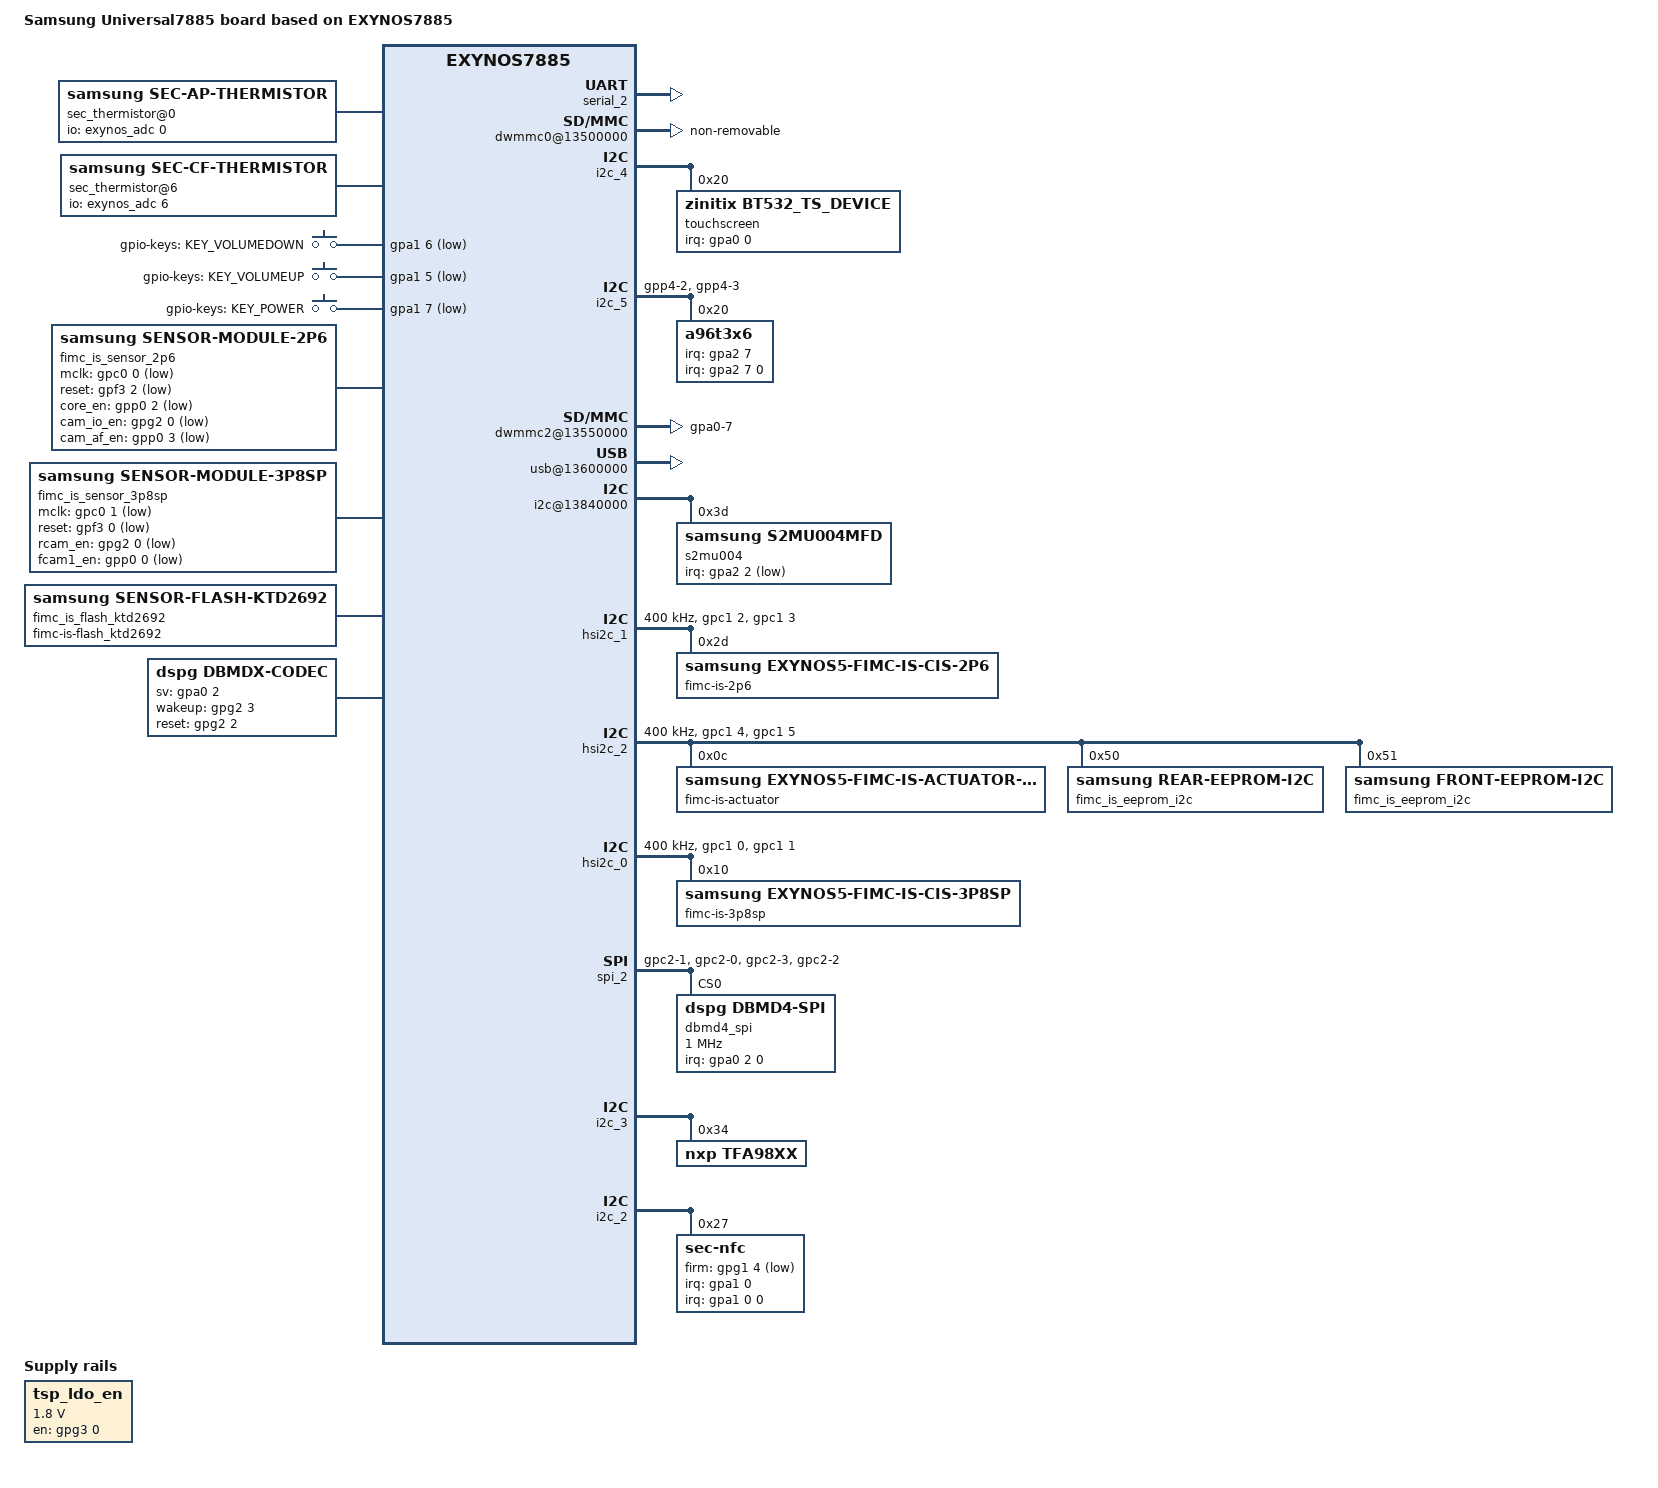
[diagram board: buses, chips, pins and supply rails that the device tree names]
/*
 * SAMSUNG UNIVERSAL7885 board device tree source
 *
 * Copyright (c) 2013 Samsung Electronics Co., Ltd.
 *		http://www.samsung.com
 *
 * This program is free software; you can redistribute it and/or modify
 * it under the terms of the GNU General Public License version 2 as
 * published by the Free Software Foundation.
*/

#include "exynos7885-rmem.dtsi"
#include "exynos7885.dtsi"
#include "display-lcd_jackpot_jpn_common.dtsi"
#include "modem-s327ap-sipc-pdata.dtsi"
#include "battery_data_jackpotlte_common.dtsi"
#include "exynos7885-jackpotlte_motor.dtsi"
#include "battery_data_jackpotlte_jpn_dcm.dtsi"
#include "exynos7885-mali.dtsi"

/ {
	model = "Samsung Universal7885 board based on EXYNOS7885";
	compatible = "samsung,exynos7885", "samsung,Universal7885";

	ect {
		parameter_address = <0x90000000>;
		parameter_size = <0x19000>;
	};

	memory@80000000 {
		device_type = "memory";
		reg = <0x0 0x80000000 0x3DA00000>;
	};

	memory@C0000000 {
		device_type = "memory";
		reg = <0x0 0xC0000000 0x40000000>;
	};

	memory@880000000 {
		device_type = "memory";
		reg = <0x00000008 0x80000000 0x40000000>;
	};

	chosen {
		bootargs = "console=ram root=/dev/ram0 clk_ignore_unused androidboot.hardware=samsungexynos7885 androidboot.selinux=permissive ess_setup=0x86000000 androidboot.debug_level=0x4948";
		linux,initrd-start = <0x84000000>;
		linux,initrd-end = <0x840FFFFF>;
	};

	fixed-rate-clocks {
		oscclk {
			compatible = "samsung,exynos7885-oscclk";
			clock-frequency = <26000000>;
		};
	};

	firmware {
		android {
			compatible = "android,firmware";
			fstab {
				compatible = "android,fstab";
				system {
					compatible = "android,system";
					dev = "/dev/block/platform/13500000.dwmmc0/by-name/SYSTEM";
					type = "ext4";
					mnt_flags = "ro";
					fsmgr_flags = "wait,verify";
				};
				vendor {
					compatible = "android,vendor";
					dev = "/dev/block/platform/13500000.dwmmc0/by-name/VENDOR";
					type = "ext4";
					mnt_flags = "ro";
					fsmgr_flags = "wait,verify";
				};
				odm {
					compatible = "android,odm";
					dev = "/dev/block/platform/13500000.dwmmc0/by-name/ODM";
					type = "ext4";
					mnt_flags = "ro";
					fsmgr_flags = "wait,verify";
				};
			};
		};
	};

	/* USI MODE SETTINGS

	usi_mode = "hsi2c0" or "hsi2c1" or "spi" or "uart"
	or "hsi2c0_hsi2c1" or "uart_hsi2c1"
	*/
	usi_0: usi@10032000 {
		usi_mode = "spi";
		status = "okay";
	};

	usi_1: usi@10032004 {
		usi_mode = "spi";
		status = "okay";
	};

	usi_2: usi@10032008 {
		usi_mode = "spi";
		status = "okay";
	};

	serial_1: uart@13810000 {
		status = "disabled";
	};

	fm@14840000 {
		num-volume-level = <16>;
		val-vol-level = <0 11 16 23 32 45 64
				 90 128 181 256 362
				 512 724 1024 1400>;
	};

	pinctrl@11CB0000 {
		pmic_irq: pmic-irq {
			samsung,pins = "gpa2-0";
			samsung,pin-pud = <3>;
			samsung,pin-drv = <3>;
		};
	};

	pinctrl@139B0000 {
		/* Warm reset information from AP */
		pm_wrsti: pm-wrsti {
			samsung,pins = "gpg1-1";
			samsung,pin-con-pdn = <3>;
		};
	};

	pinctrl@139B0000 {
		/* SPI_FP */
		spi1_bus_inactive: spi1-bus-inactive {
			samsung,pins = "gpp6-0", "gpp6-1", "gpp6-3";
			samsung,pin-function = <1>;
			samsung,pin-pud = <0>;
			samsung,pin-drv = <2>;
		};
		spi1_miso_inactive: spi1-miso-inactive {
			samsung,pins = "gpp6-2";
			samsung,pin-function = <0>;
			samsung,pin-pud = <1>;
			samsung,pin-drv = <2>;
		};
		spi1_clk: spi1-clk {
			samsung,pins = "gpp6-0";
			samsung,pin-function = <2>;
			samsung,pin-pud = <1>;
			samsung,pin-drv = <2>;
		};
		spi1_cs: spi1-cs {
			samsung,pins = "gpp6-1";
			samsung,pin-function = <2>;
			samsung,pin-pud = <3>;
			samsung,pin-drv = <2>;
		};
		spi1_miso: spi1-miso {
			samsung,pins = "gpp6-2";
			samsung,pin-function = <2>;
			samsung,pin-pud = <0>;
			samsung,pin-drv = <2>;
		};
		spi1_mosi: spi1-mosi {
			samsung,pins = "gpp6-3";
			samsung,pin-function = <2>;
			samsung,pin-pud = <1>;
			samsung,pin-drv = <2>;
		};
	};

	but_zones: but_zones {
		#list-but-cells = <3>;
	};

	speedy@11CE0000 {
		status = "okay";
		audio_codec_cod3035x: cod3035x@03 {
			compatible = "codec,cod3035x";
			reg = <0x03>;
			i2c-speedy-address;
			vdd-supply = <&l36_reg>;
			pinctrl-names = "default";
			ant-det-gpio = <&gpa1 4 0xf>;
			legacy-dtv-support;
			mic-bias1-voltage = <3>;
			mic-bias2-voltage = <1>;
			mic-bias-ldo-voltage = <3>;
			use-lassenA;
			use-feature-flag = <0x01>;
			use-btn-adc-mode;
			use-det-gdet-adc-mode = <1>;
			jack-imp-tuning = <7>;
			io-channels = <&exynos_adc 3>,<&exynos_adc 7>;
			io-channel-names = "adc-ear","adc-gdet";
			#io-channel-cells = <1>;
			io-channel-ranges;
			but-zones-list = <&but_zones 226 0 376>,
							 <&but_zones 582 377 447>,
							 <&but_zones 115 448 627>,
							 <&but_zones 114 628 1161>;
			mic-adc-range = <1404>;
			ant-adc-range = <3450>;
			btn-release-value = <1404>;
		};

		s2mpu08mfd@00 {
			compatible = "samsung,s2mpu08mfd";
			acpm-ipc-channel = <2>;
			i2c-speedy-address;
			s2mpu08,wakeup = "enabled";
			s2mpu08,irq-gpio = <&gpa2 0 0>;
			reg = <0x00>;
			interrupts = <2 0 0>;
			interrupt-parent = <&gpa2>;
			pinctrl-names = "default";
			pinctrl-0 = <&pmic_irq &pm_wrsti>;
			/* RTC: wtsr/smpl */
			wtsr_en = "enabled"; /* enable */
			smpl_en = "enabled"; /* enable */
			wtsr_timer_val = <3>;	/* 1000ms */
			smpl_timer_val = <0>;	/* 100ms */
			check_jigon = <0>; /* do not check jigon */
			/* RTC: If it's first boot, reset rtc to 1/1/2018 12:00:00(Mon) */
			init_time,sec = <0>;
			init_time,min = <0>;
			init_time,hour = <12>;
			init_time,mday = <1>;
			init_time,mon = <0>;
			init_time,year = <118>;
			init_time,wday = <1>;

			samsung,codec-interrupt = <&audio_codec_cod3035x>;

			regulators {
				b1_reg: BUCK1 {
					regulator-name = "vdd_mif";
					regulator-min-microvolt = <500000>;
					regulator-max-microvolt = <1100000>;
					regulator-always-on;
					regulator-ramp-delay = <12000>;
					regulator-initial-mode = <2>;
				};

				b2_reg: BUCK2 {
					regulator-name = "vdd_cpucl0";
					regulator-min-microvolt = <500000>;
					regulator-max-microvolt = <1300000>;
					regulator-always-on;
					regulator-ramp-delay = <12000>;
					regulator-initial-mode = <1>;
				};

				b3_reg: BUCK3 {
					regulator-name = "vdd_cpucl1_2";
					regulator-min-microvolt = <500000>;
					regulator-max-microvolt = <1300000>;
					regulator-always-on;
					regulator-ramp-delay = <12000>;
					regulator-initial-mode = <1>;
				};

				b4_reg: BUCK4 {
					regulator-name = "vdd_int";
					regulator-min-microvolt = <500000>;
					regulator-max-microvolt = <1200000>;
					regulator-always-on;
					regulator-ramp-delay = <12000>;
					regulator-initial-mode = <2>;
				};

				b5_reg: BUCK5 {
					regulator-name = "vdd_g3d";
					regulator-min-microvolt = <500000>;
					regulator-max-microvolt = <1300000>;
					regulator-always-on;
					regulator-ramp-delay = <12000>;
					regulator-initial-mode = <1>;
				};

				b6_reg: BUCK6 {
					regulator-name = "vdd2_mem";
					regulator-min-microvolt = <500000>;
					regulator-max-microvolt = <1300000>;
					regulator-always-on;
					regulator-ramp-delay = <12000>;
					regulator-initial-mode = <3>;
				};

				b7_reg: BUCK7 {
					regulator-name = "vdd_lldo";
					regulator-min-microvolt = <1200000>;
					regulator-max-microvolt = <1500000>;
					regulator-always-on;
					regulator-boot-on;
					regulator-ramp-delay = <12000>;
					regulator-initial-mode = <3>;
				};

				b8_reg: BUCK8 {
					regulator-name = "vdd_mldo";
					regulator-min-microvolt = <1800000>;
					regulator-max-microvolt = <2100000>;
					regulator-always-on;
					regulator-ramp-delay = <12000>;
					regulator-initial-mode = <3>;
				};

				l1_reg: LDO1 {
					regulator-name = "vdd_ldo1";
					regulator-min-microvolt = <700000>;
					regulator-max-microvolt = <1300000>;
					regulator-always-on;
					regulator-ramp-delay = <12000>;
					regulator-initial-mode = <3>;
				};

				l2_reg: LDO2 {
					regulator-name = "vqmmc";
					regulator-min-microvolt = <1800000>;
					regulator-max-microvolt = <3375000>;
					regulator-ramp-delay = <12000>;
				};

				l3_reg: LDO3 {
					regulator-name = "vdd_ldo3";
					regulator-min-microvolt = <800000>;
					regulator-max-microvolt = <1950000>;
					regulator-always-on;
					regulator-ramp-delay = <12000>;
					regulator-initial-mode = <3>;
				};

				l4_reg: LDO4 {
					regulator-name = "vdd_ldo4";
					regulator-min-microvolt = <500000>;
					regulator-max-microvolt = <1300000>;
					regulator-always-on;
					regulator-ramp-delay = <12000>;
					regulator-initial-mode = <1>;
				};

				l5_reg: LDO5 {
					regulator-name = "vdd_ldo5";
					regulator-min-microvolt = <800000>;
					regulator-max-microvolt = <1350000>;
					regulator-always-on;
					regulator-ramp-delay = <12000>;
					regulator-initial-mode = <1>;
				};

				l6_reg: LDO6 {
					regulator-name = "vdd_ldo6";
					regulator-min-microvolt = <800000>;
					regulator-max-microvolt = <1350000>;
					regulator-always-on;
					regulator-ramp-delay = <12000>;
					regulator-initial-mode = <1>;
				};

				l7_reg: LDO7 {
					regulator-name = "vdd_ldo7";
					regulator-min-microvolt = <800000>;
					regulator-max-microvolt = <1950000>;
					regulator-always-on;
					regulator-ramp-delay = <12000>;
					regulator-initial-mode = <1>;
				};

				l8_reg: LDO8 {
					regulator-name = "vdd_ldo8";
					regulator-min-microvolt = <500000>;
					regulator-max-microvolt = <1300000>;
					regulator-always-on;
					regulator-ramp-delay = <12000>;
					regulator-initial-mode = <1>;
				};

				l9_reg: LDO9 {
					regulator-name = "vdd_ldo9";
					regulator-min-microvolt = <500000>;
					regulator-max-microvolt = <1300000>;
					regulator-always-on;
					regulator-ramp-delay = <12000>;
					regulator-initial-mode = <1>;
				};

				l10_reg: LDO10 {
					regulator-name = "vdd_ldo10";
					regulator-min-microvolt = <500000>;
					regulator-max-microvolt = <1300000>;
					regulator-always-on;
					regulator-ramp-delay = <12000>;
					regulator-initial-mode = <1>;
				};

				l11_reg: LDO11 {
					regulator-name = "vdd_ldo11";
					regulator-min-microvolt = <500000>;
					regulator-max-microvolt = <1300000>;
					regulator-always-on;
					regulator-ramp-delay = <12000>;
					regulator-initial-mode = <1>;
				};

				l12_reg: LDO12 {
					regulator-name = "vdd_ldo12";
					regulator-min-microvolt = <800000>;
					regulator-max-microvolt = <1350000>;
					regulator-always-on;
					regulator-ramp-delay = <12000>;
					regulator-initial-mode = <1>;
				};

				l13_reg: LDO13 {
					regulator-name = "vdd_ldo13";
					regulator-min-microvolt = <800000>;
					regulator-max-microvolt = <1950000>;
					regulator-always-on;
					regulator-ramp-delay = <12000>;
					regulator-initial-mode = <1>;
				};

				l14_reg: LDO14 {
					regulator-name = "vdd_ldo14";
					regulator-min-microvolt = <1800000>;
					regulator-max-microvolt = <3375000>;
					regulator-always-on;
					regulator-ramp-delay = <12000>;
					regulator-initial-mode = <1>;
				};

				l33_reg: LDO33 {
					regulator-name = "vdd_ldo33";
					regulator-min-microvolt = <800000>;
					regulator-max-microvolt = <1950000>;
					regulator-always-on;
					regulator-ramp-delay = <12000>;
					regulator-initial-mode = <3>;
				};

				l34_reg: LDO34 {
					regulator-name = "vdd_ldo34";
					regulator-min-microvolt = <1800000>;
					regulator-max-microvolt = <3375000>;
					regulator-always-on;
					regulator-ramp-delay = <12000>;
					regulator-initial-mode = <3>;
				};

				l35_reg: LDO35 {
					regulator-name = "vmmc";
					regulator-min-microvolt = <1800000>;
					regulator-max-microvolt = <3000000>;
					regulator-ramp-delay = <12000>;
				};

				l36_reg: LDO36 {
					regulator-name = "vdd_ldo36";
					regulator-min-microvolt = <800000>;
					regulator-max-microvolt = <1950000>;
					regulator-always-on;
					regulator-ramp-delay = <12000>;
					regulator-initial-mode = <3>;
				};

				l37_reg: LDO37 {
					regulator-name = "vdd_ldo37";
					regulator-min-microvolt = <1800000>;
					regulator-max-microvolt = <3375000>;
					regulator-always-on;
					regulator-ramp-delay = <12000>;
					regulator-initial-mode = <3>;
				};
			};
		};
	};

	sec_thermistor@0 {
		compatible = "samsung,sec-ap-thermistor";
		status = "okay";

		adc_array = <235 308 378 395 467 568 603 648 698 764
				908 1066 1170 1242 1327 1430 1633 1830 2061 2282
				2409 2500 2584 2697 2880 3069 3213 3337 3447>;
		temp_array = <900 850 800 750 700 650 620 600 580 550
				500 450 420 400 380 350 300 250 200 150
				120 100 80 50 0 (-50) (-100) (-150) (-200)>;
		io-channels = <&exynos_adc 0>;
		io-channel-names = "adc-ap-temp";
		io-channel-ranges;
	};

	sec_thermistor@6 {
		compatible = "samsung,sec-cf-thermistor";
		status = "okay";

		adc_array = <235 308 378 395 467 568 603 648 698 764
				908 1066 1170 1242 1327 1430 1633 1830 2061 2282
				2409 2500 2584 2697 2880 3069 3213 3337 3447>;
		temp_array = <900 850 800 750 700 650 620 600 580 550
				500 450 420 400 380 350 300 250 200 150
				120 100 80 50 0 (-50) (-100) (-150) (-200)>;
		io-channels = <&exynos_adc 6>;
		io-channel-names = "adc-cf-temp";
		io-channel-ranges;
	};

	exynos_rgt {
		compatible = "samsung,exynos-rgt";
	};

	serial_2: uart@13820000 {
		status = "okay";
	};

	pinctrl@11CB0000 {
		dwmmc2_cd_ext_irq: dwmmc2_cd_ext_irq {
			samsung,pins = "gpa0-7";
			samsung,pin-function = <0xf>;
			samsung,pin-pud = <0>;
			samsung,pin-drv = <3>;
		};
	};

	dwmmc0@13500000 {
		status = "okay";
		num-slots = <1>;
		broken-cd;
		fixed_voltage;
		supports-highspeed;
		mmc-ddr-1_8v;
		mmc-hs200-1_8v;
		mmc-hs400-1_8v;
		supports-8bit;
		supports-cmd23;
		supports-erase;
		supports-hs400-enhanced-strobe;
		card-init-hwacg-ctrl;
		support-cmdq;
		qos-dvfs-level = <100000>;
		fifo-depth = <0x40>;
		non-removable;
		desc-size = <4>;
		card-detect-delay = <200>;
		samsung,dw-mshc-ciu-div = <3>;
		samsung,dw-mshc-txdt-crc-timer-fastlimit = <0x13>;
		samsung,dw-mshc-txdt-crc-timer-initval = <0x15>;
		samsung,dw-mshc-hs400-delay-line = <0x60>;
		samsung,dw-mshc-sdr-timing = <3 0 4 0>;
		samsung,dw-mshc-ddr-timing = <3 0 4 2>;
		samsung,dw-mshc-hs200-timing = <3 0 3 0>;
		samsung,dw-mshc-hs400-timing = <1 0 2 0>;
		samsung,dw-mshc-hs400-ulp-timing = <3 0 2 0>;

		num-ref-clks = <12>;
		ciu_clkin = <25 50 50 25 50 100 200 50 50 200 200 200>;

		/* Swapping clock drive strength */
		clk-drive-number = <4>;
		pinctrl-names = "default",
			"fast-slew-rate-1x",
			"fast-slew-rate-2x",
			"fast-slew-rate-3x",
			"fast-slew-rate-4x";
		pinctrl-0 = <&sd0_clk &sd0_cmd &sd0_rdqs &sd0_bus1 &sd0_bus4 &sd0_bus8>;
		pinctrl-1 = <&sd0_clk_fast_slew_rate_1x>;
		pinctrl-2 = <&sd0_clk_fast_slew_rate_2x>;
		pinctrl-3 = <&sd0_clk_fast_slew_rate_3x>;
		pinctrl-4 = <&sd0_clk_fast_slew_rate_4x>;
		slot@0 {
			reg = <0>;
			bus-width = <8>;
		};

	};

	dwmmc1@13510000 {
		status = "disabled";
		num-slots = <1>;
		channel = <1>;
		fixed_voltage;
		enable-cclk-on-suspend;
		caps-control;
		supports-highspeed;
		supports-4bit;
		keep-power-in-suspend;
		pm-ignore-notify;
		card-detect-type-external;
		use-broken-voltage;
		fifo-depth = <0x40>;
		card-detect-delay = <200>;
		qos-dvfs-level = <100000>;
		data-timeout = <200>;
		hto-timeout = <80>;
		samsung,dw-mshc-ciu-div = <3>;
		samsung,dw-mshc-sdr-timing = <3 0 2 0>;
		samsung,dw-mshc-ddr-timing = <3 0 2 1>;
		samsung,dw-mshc-sdr50-timing = <3 0 4 2>;
		samsung,dw-mshc-sdr104-timing = <3 0 3 0>;

		num-ref-clks = <9>;
		ciu_clkin = <25 50 50 25 50 100 200 50 50>;

		clk-drive-number = <4>;
		pinctrl-names = "default",
			"fast-slew-rate-1x",
			"fast-slew-rate-2x",
			"fast-slew-rate-3x",
			"fast-slew-rate-4x";
		pinctrl-0 = <&sd1_clk &sd1_cmd &sd1_bus1 &sd1_bus4>;
		pinctrl-1 = <&sd1_clk_fast_slew_rate_1x>;
		pinctrl-2 = <&sd1_clk_fast_slew_rate_2x>;
		pinctrl-3 = <&sd1_clk_fast_slew_rate_3x>;
		pinctrl-4 = <&sd1_clk_fast_slew_rate_4x>;
		slot@0 {
			reg = <0>;
			bus-width = <4>;
		};
	};

	tsp_ldo_en {
		compatible = "regulator-fixed";
		regulator-name = "tsp_ldo_en";
		regulator-min-microvolt = <1800000>;
		regulator-max-microvolt = <1800000>;
		gpio = <&gpg3 0 0>;
		enable-active-high;
		regulator-boot-on;
	};

	i2c_4: i2c@13870000 {
		samsung,i2c-sda-delay = <100>;
		samsung,i2c-max-bus-freq = <400000>;
		status = "okay";
		touchscreen@20 {
			compatible = "zinitix,bt532_ts_device";
			reg = <0x20>;
			pinctrl-names = "on_state", "off_state";
			pinctrl-0 = <&attn_irq>;
			pinctrl-1 = <&attn_input>;
			zinitix,irq_gpio = <&gpa0 0 0>;
			zinitix,gpio_ldo_en;
			zinitix,regulator_avdd = "tsp_ldo_en";
			zinitix,x_resolution = <720>;
			zinitix,y_resolution = <1480>;
			zinitix,page_size = <128>;
			zinitix,chip_name = "ZT7548";
			zinitix,firmware_name = "tsp_zinitix/zt7548_feel2.fw";
			/* zinitix,spay = "true"; */
			/* zinitix,aod = "true"; */
			zinitix,tclm_level = <0x02>;
			zinitix,afe_base = <0x8150>;
			zinitix,mis_cal_check;
			zinitix,factory_item_version = <4>;
		};
	};

	pinctrl@11CB0000 {
		attn_irq: attn-irq {
			samsung,pins = "gpa0-0";
			samsung,pin-function = <0xf>;
			samsung,pin-pud = <0>;
			samsung,pin-drv = <0>;
		};
		attn_input: attn-input {
			samsung,pins = "gpa0-0";
			samsung,pin-function = <0>;
			samsung,pin-pud = <0>;
		};
	};

	pinctrl@139B0000 {
		fimc_is_flash_host: fimc-is-flash-host {
			samsung,pins = "gpg1-2";
			samsung,pin-function = <1>; /* 0: input, 1:output*/
			samsung,pin-pud = <0>; /* 0: NP, 1: PD, 2: reserved 3:PU */
			samsung,pin-drv = <0>;
		};
		fimc_is_flash_is: fimc-is-flash-is {
			samsung,pins = "gpg1-2";
			samsung,pin-function = <0>; /* 0: input, 1:output*/
			samsung,pin-pud = <1>; /* 0: NP, 1: PD, 2: reserved 3:PU */
			samsung,pin-drv = <0>;
		};
	};

	pinctrl@11CB0000 {
		grip_int: grip-int {
			samsung,pins = "gpa2-7";
			samsung,pin-function = <0xf>;
			samsung,pin-pud = <0>;
			samsung,pin-drv = <0>;
		};
	};

	pinctrl@139B0000 {
		grip_ldo: grip-ldo {
			samsung,pins = "gpg2-5";
			samsung,pin-function = <1>;
			samsung,pin-pud = <0>;
		};
		cfg_i2c: cfg-i2c {
			samsung,pins = "gpp4-2", "gpp4-3";
			samsung,pin-function = <2>;
			samsung,pin-pud = <0>;
			samsung,pin-drv = <0>;
		};
	};

	i2c_5:i2c@13880000 {
		status = "okay";
		#address-cells = <1>;
		#size-cells = <0>;
		samsung,i2c-sda-delay = <100>;
		samsung,i2c-max-bus-freq = <400000>;
		pinctrl-names = "default";
		pinctrl-0 = <&cfg_i2c>;

		a96t3x6@20 {
			compatible = "a96t3x6";
			pinctrl-names = "default", "grip_ldo";
			pinctrl-0 = <&grip_int &grip_ldo>;
			reg = <0x20>;
			interrupt-parent = <&gpa2>;
			interrupts = <7 0 0>;
			a96t3x6,irq_gpio = <&gpa2 7 0>;
			a96t3x6,ldo_en = <&gpg2 5 0>;
			/* temporary firmware */
			a96t3x6,fw_path = "abov/a96t326_jackpotvelte.fw";
			a96t3x6,firmup_cmd = <0x32>;
		};
	};

	dwmmc2@13550000 {
		status = "okay";
		num-slots = <1>;
		supports-4bit;
		supports-cmd23;
		supports-erase;
		supports-highspeed;
		sd-uhs-sdr50;
		sd-uhs-sdr104;
		card-detect-gpio;
		card-no-pre-powerup;
		bypass-for-allpass;
		card-init-hwacg-ctrl;
		skip-init-mmc-scan;
		qos-dvfs-level = <100000>;
		qos-sd3-dvfs-level = <267000>;
		fifo-depth = <0x40>;
		desc-size = <4>;
		card-detect-delay = <200>;
		data-timeout = <200>;
		hto-timeout = <80>;
		samsung,dw-mshc-ciu-div = <3>;
		clock-frequency = <800000000>;
		samsung,dw-mshc-sdr-timing = <3 0 2 0>;
		samsung,dw-mshc-ddr-timing = <3 0 2 1>;
		samsung,dw-mshc-sdr50-timing = <3 0 4 2>;
		samsung,dw-mshc-sdr104-timing = <3 0 3 0>;

		num-ref-clks = <9>;
		ciu_clkin = <25 50 50 25 50 100 200 50 50>;

		/* Swapping clock drive strength */
		clk-drive-number = <4>;
		pinctrl-names = "default",
			"fast-slew-rate-1x",
			"fast-slew-rate-2x",
			"fast-slew-rate-3x",
			"fast-slew-rate-4x";
		pinctrl-0 = <&sd2_clk &sd2_cmd &sd2_bus1 &sd2_bus4 &dwmmc2_cd_ext_irq>;
		pinctrl-1 = <&sd2_clk_fast_slew_rate_1x>;
		pinctrl-2 = <&sd2_clk_fast_slew_rate_2x>;
		pinctrl-3 = <&sd2_clk_fast_slew_rate_3x>;
		pinctrl-4 = <&sd2_clk_fast_slew_rate_4x>;

		card-detect = <&gpa0 7 0xf>;
		sec-sd-slot-type = <2>; /* Hybrid Tray SD slot */

		slot@0 {
			reg = <0>;
			bus-width = <4>;
			disable-wp;
		};

	};

	pinctrl@11CB0000 {
		key_power: key-power {
			samsung,pins = "gpa1-7";
			samsung,pin-function = <0xf>;
			samsung,pin-pud = <0>;
			samsung,pin-drv = <0>;
		};

		key_voldown: key-voldown {
			samsung,pins = "gpa1-6";
			samsung,pin-function = <0xf>;
			samsung,pin-pud = <0>;
			samsung,pin-drv = <0>;
		};

		key_volup: key-volup {
			samsung,pins = "gpa1-5";
			samsung,pin-function = <0xf>;
			samsung,pin-pud = <0>;
			samsung,pin-drv = <0>;
		};

		hall_irq: hall-irq {
			samsung,pins = "gpa0-3";
			samsung,pin-function = <0xf>;
			samsung,pin-pud = <0>;
			samsung,pin-drv = <0>;
		};

		certify_hall_irq: certify-hall-irq {
			samsung,pins = "gpa0-4";
			samsung,pin-function = <0xf>;
			samsung,pin-pud = <0>;
			samsung,pin-drv = <0>;
		};
	};

	flip_cover {
		status = "okay";
		compatible = "flip_cover";
		pinctrl-names = "default";
		pinctrl-0 = <&hall_irq &certify_hall_irq>;
		hall {
			name = "hall";
			event = <0x15>;
			gpios = <&gpa0 3 0>;
		};
		certify_hall {
			name = "certify_hall";
			event = <0x1b>;
			gpios = <&gpa0 4 0xf>;
		};
	};

	gpio_keys {
		status = "okay";
		compatible = "gpio-keys";
		#address-cells = <1>;
		#size-cells = <0>;
		pinctrl-names = "default";
		pinctrl-0 = <&key_voldown &key_volup &key_power>;
		button@1 {
			label = "gpio-keys: KEY_VOLUMEDOWN";
			interrupts = <6 0 0>;
			interrupt-parent = <&gpa1>;
			linux,code = <114>;
			gpios = <&gpa1 6 0xf>;
		};
		button@2 {
			label = "gpio-keys: KEY_VOLUMEUP";
			interrupts = <5 0 0>;
			interrupt-parent = <&gpa1>;
			linux,code = <115>;
			gpios = <&gpa1 5 0xf>;
		};
		button@3 {
			label = "gpio-keys: KEY_POWER";
			interrupts = <7 0 0>;
			interrupt-parent = <&gpa1>;
			linux,code = <116>;
			gpios = <&gpa1 7 0xf>;
			gpio-key,wakeup = <1>;
		};

	};

	sec_abc {
		compatible = "samsung,sec_abc";
		status = "okay";

		gpu {
			gpu,label="GPU fault";
			gpu,threshold_count=<20>;
			gpu,threshold_time=<1200>;
		};
		aicl {
			aicl,label="battery aicl";
			aicl,threshold_count=<5>;
			aicl,threshold_time=<300>;
		};
	};

	usb@13600000 {
		status = "okay";
		dwc3 {
			dr_mode = "otg";
			maximum-speed = "high-speed";
			snps,quirk-frame-length-adjustment = <0x20>;
		};
	};

	phy@135D0000 {
		status = "okay";
		hs_tune_param = <&usb_hs_tune>;
	};

	usb_hs_tune:hs_tune {
		hs_tune_cnt = <12>;

		/* value = <device host> */
		hs_tune1 {
			tune_name = "tx_vref";
			tune_value = <0xd 0x1>;
		};

		hs_tune2 {
			tune_name = "tx_pre_emp";
			tune_value = <0x3 0x3>;
		};

		hs_tune3 {
			tune_name = "tx_pre_emp_plus";
			tune_value = <0x0 0x0>;
		};

		hs_tune4 {
			tune_name = "tx_res";
			tune_value = <0x3 0x3>;
		};

		hs_tune5 {
			tune_name = "tx_rise";
			tune_value = <0x3 0x3>;
		};

		hs_tune6 {
			tune_name = "tx_hsxv";
			tune_value = <0x3 0x3>;
		};

		hs_tune7 {
			tune_name = "tx_fsls";
			tune_value = <0x3 0x3>;
		};

		hs_tune8 {
			tune_name = "rx_sqrx";
			tune_value = <0x7 0x7>;
		};

		hs_tune9 {
			tune_name = "compdis";
			tune_value = <0x7 0x7>;
		};

		hs_tune10 {
			tune_name = "otg";
			tune_value = <0x2 0x2>;
		};

		hs_tune11 {
		/* true : 1, false: 0 */
		/* <enable_user_imp user_imp_value> */
			tune_name = "enable_user_imp";
			tune_value = <0x0 0x0>;
		};

		hs_tune12 {
		/* PHY clk : 1 , FREE clk : 0 */
			tune_name = "is_phyclock";
			tune_value = <0x1 0x1>;
		};
	};

	mailbox_cp: mcu_ipc@12080000 {
		compatible = "samsung,exynos-shd-ipc-mailbox";
		reg = <0x0 0x12080000 0x180>;
		mcu,name = "mcu_ipc_cp";
		mcu,id = <0>;
		interrupts = <0 55 0 >; /* MAILBOX_CP_TO_AP SPI Number */
	};

	mailbox_gnss: mcu_ipc@120D0000 {
		compatible = "samsung,exynos-shd-ipc-mailbox";
		reg = <0x0 0x120D0000 180>;
		mcu,name = "mcu_ipc_gnss";
		mcu,id = <1>;
		interrupts = <GIC_SPI 56 IRQ_TYPE_NONE>;
	};

	gnss_pdata {
		status = "okay";

		compatible = "samsung,gnss_shdmem_if";
		shmem,name = "KEPLER";
		shmem,device_node_name = "gnss_ipc";

		/* ACTIVE WATCHDOG WAKEUP */
		interrupts = <GIC_SPI 20 IRQ_TYPE_NONE>,
			     <GIC_SPI 165 IRQ_TYPE_NONE>,
			     <GIC_SPI 164 IRQ_TYPE_NONE>;
		interrupt-names = "ACTIVE", "WATCHDOG", "WAKEUP";

		memory-region = <&gnss_reserved>;
		mbox_info = <&mailbox_gnss>;

		mbx,int_ap2gnss_bcmd = <0>;
		mbx,int_ap2gnss_req_fault_info = <1>;
		mbx,int_ap2gnss_ipc_msg = <2>;
		mbx,int_ap2gnss_ack_wake_set = <3>;
		mbx,int_ap2gnss_ack_wake_clr = <4>;

		mbx,irq_gnss2ap_bcmd = <0>;
		mbx,irq_gnss2ap_rsp_fault_info = <1>;
		mbx,irq_gnss2ap_ipc_msg = <2>;
		mbx,irq_gnss2ap_req_wake_clr = <4>;

		mbx,reg_bcmd_ctrl = <0>, <1>, <2>, <3>;

		reg_rx_ipc_msg = <1 5>;
		reg_tx_ipc_msg = <1 4>;
		reg_rx_head = <1 3>;
		reg_rx_tail = <1 2>;
		reg_tx_head = <1 1>;
		reg_tx_tail = <1 0>;
		fault_info = <1 0x200000 0x180000>;

		shmem,ipc_offset = <0x380000>;
		shmem,ipc_size = <0x80000>;
		shmem,ipc_reg_cnt = <32>;

		/* Use the following value when can't boot with mailbox */
		shmem,boot_without_mbox = <1>; /* Default : 0 */
	};

	usb_notifier {
		compatible = "samsung,usb-notifier";
		udc = <&udc>;
	};

	i2c@13840000{
		status = "okay";
		s2mu004@3D {
			status = "okay";
			compatible = "samsung,s2mu004mfd";
			reg = <0x3D>;
			pinctrl-names = "default";
			pinctrl-0 = <&if_pmic_irq>;
			s2mu004,irq-gpio = <&gpa2 2 1>;
			s2mu004,wakeup;
		};
	};

	fimc_is@14440000 {
		pinctrl-names = "default","release";
		pinctrl-0 = <&fimc_is_mclk0_out &fimc_is_mclk1_out &fimc_is_mclk2_out>;
		pinctrl-1 = <>;

		vender {
			rear_sensor_id = <58>; /* SENSOR_NAME_S5K2P6 */
			front_sensor_id = <44>; /* SENSOR_NAME_S5K3P8SP */
			use_module_check;
			check_sensor_vendor;
			/*skip_cal_loading;*/

			max_camera_num = <2>;
			camera_info0 {				// 0 : rear - 2p6
				isp = <0>;			/* 0 : INT , 1 : EXT , 2 : SOC */
				cal_memory = <2>;		/* 0 : N , 1 : FROM , 2 : EEPROM , 3 : OTP  */
				read_version = <0>;		/* 0 : SYSFS , 1 : CAMON */
				core_voltage = <0>;		/* 0 : N , 1 : Y  */
				upgrade = <0>;			/* 0 : N , 1 : SYSFS , 2 : CAMON */
				companion = <0>;		/* 0 : N , 1 : Y  */
				ois = <0>;			/* 0 : N , 1 : Y  */
				valid = <1>;			/* 0 : INVALID, 1 : VALID */
				dual_open = <0>;		/* 0 : SINGLE_OPEN , 1 : DUAL_OPEN */
			};
			camera_info1 {				// 1 : front1 - 3p8sp
				isp = <0>;			/* 0 : INT , 1 : EXT , 2 : SOC */
				cal_memory = <2>;		/* 0 : N , 1 : FROM , 2 : EEPROM , 3 : OTP  */
				read_version = <0>;		/* 0 : SYSFS , 1 : CAMON */
				core_voltage = <0>;		/* 0 : N , 1 : Y  */
				upgrade = <0>;			/* 0 : N , 1 : SYSFS , 2 : CAMON */
				companion = <0>;		/* 0 : N , 1 : Y  */
				ois = <0>;			/* 0 : N , 1 : Y  */
				valid = <1>;			/* 0 : INVALID, 1 : VALID */
				dual_open = <0>;		/* 0 : SINGLE_OPEN , 1 : DUAL_OPEN */
			};
		};

		fimc_is_dvfs {
			/* TODO: DVFS level set */
			#define DVFS_INT_L0 533000
			#define DVFS_INT_L1 333000
			#define DVFS_INT_L2 267000
			#define DVFS_INT_L3 133000
			#define DVFS_INT_L4 107000

			#define DVFS_CAM_L0 690000
			#define DVFS_CAM_L1 680000
			#define DVFS_CAM_L2 670000
			#define DVFS_CAM_L3 660000
			#define DVFS_CAM_L4 650000

			#define DVFS_MIF_L0 2093000
			#define DVFS_MIF_L1 2002000
			#define DVFS_MIF_L2 1794000
			#define DVFS_MIF_L3 1539000
			#define DVFS_MIF_L4 1352000
			#define DVFS_MIF_L5 1014000
			#define DVFS_MIF_L6 845000
			#define DVFS_MIF_L7 676000
			#define DVFS_MIF_L8 546000
			#define DVFS_MIF_L9 420000

			table0 {
				desc = "default";

				default_int = <DVFS_INT_L0>;
				default_cam = <DVFS_CAM_L0>;
				default_mif = <DVFS_MIF_L0>;
				default_i2c = <0>;

				front_preview_int = <DVFS_INT_L4>;
				front_preview_cam = <DVFS_CAM_L2>;
				front_preview_mif = <DVFS_MIF_L5>;
				front_preview_i2c = <0>;

				front_capture_int = <DVFS_INT_L4>;
				front_capture_cam = <DVFS_CAM_L2>;
				front_capture_mif = <DVFS_MIF_L5>;
				front_capture_i2c = <0>;

				front_video_int = <DVFS_INT_L4>;
				front_video_cam = <DVFS_CAM_L2>;
				front_video_mif = <DVFS_MIF_L5>;
				front_video_i2c = <0>;

				front_vt1_int = <DVFS_INT_L4>;
				front_vt1_cam = <DVFS_CAM_L2>;
				front_vt1_mif = <DVFS_MIF_L7>;
				front_vt1_i2c = <0>;

				front_vt2_int = <DVFS_INT_L4>;
				front_vt2_cam = <DVFS_CAM_L2>;
				front_vt2_mif = <DVFS_MIF_L7>;
				front_vt2_i2c = <0>;

				front_vt4_int = <DVFS_INT_L4>;
				front_vt4_cam = <DVFS_CAM_L2>;
				front_vt4_mif = <DVFS_MIF_L7>;
				front_vt4_i2c = <0>;

				rear_preview_fhd_int = <DVFS_INT_L4>;
				rear_preview_fhd_cam = <DVFS_CAM_L2>;
				rear_preview_fhd_mif = <DVFS_MIF_L4>;
				rear_preview_fhd_i2c = <0>;

				rear_capture_int = <DVFS_INT_L4>;
				rear_capture_cam = <DVFS_CAM_L1>;
				rear_capture_mif = <DVFS_MIF_L3>;
				rear_capture_i2c = <0>;

				rear_video_fhd_int = <DVFS_INT_L4>;
				rear_video_fhd_cam = <DVFS_CAM_L2>;
				rear_video_fhd_mif = <DVFS_MIF_L4>;
				rear_video_fhd_i2c = <0>;

				rear_video_uhd_int = <DVFS_INT_L4>;
				rear_video_uhd_cam = <DVFS_CAM_L2>;
				rear_video_uhd_mif = <DVFS_MIF_L1>;
				rear_video_uhd_i2c = <0>;

				rear_video_fhd_capture_int = <DVFS_INT_L4>;
				rear_video_fhd_capture_cam = <DVFS_CAM_L1>;
				rear_video_fhd_capture_mif = <DVFS_MIF_L3>;
				rear_video_fhd_capture_i2c = <0>;

				rear_video_uhd_capture_int = <DVFS_INT_L4>;
				rear_video_uhd_capture_cam = <DVFS_CAM_L0>;
				rear_video_uhd_capture_mif = <DVFS_MIF_L0>;
				rear_video_uhd_capture_i2c = <0>;

				preview_high_speed_fps_int = <DVFS_INT_L4>;
				preview_high_speed_fps_cam = <DVFS_CAM_L2>;
				preview_high_speed_fps_mif = <DVFS_MIF_L5>;
				preview_high_speed_fps_i2c = <0>;

				video_high_speed_60fps_int = <DVFS_INT_L4>;
				video_high_speed_60fps_cam = <DVFS_CAM_L2>;
				video_high_speed_60fps_mif = <DVFS_MIF_L5>;
				video_high_speed_60fps_i2c = <0>;

				video_high_speed_120fps_int = <DVFS_INT_L4>;
				video_high_speed_120fps_cam = <DVFS_CAM_L2>;
				video_high_speed_120fps_mif = <DVFS_MIF_L5>;
				video_high_speed_120fps_i2c = <0>;

				max_int = <DVFS_INT_L0>;
				max_cam = <DVFS_CAM_L0>;
				max_mif = <DVFS_MIF_L0>;
				max_i2c = <0>;
			};

			table1 {
				desc = "DVFS table for HAL3";

				default_int = <DVFS_INT_L0>;
				default_cam = <DVFS_CAM_L0>;
				default_mif = <DVFS_MIF_L0>;
				default_i2c = <0>;

				front_preview_int = <DVFS_INT_L4>;
				front_preview_cam = <DVFS_CAM_L2>;
				front_preview_mif = <DVFS_MIF_L5>;
				front_preview_i2c = <0>;

				front_capture_int = <DVFS_INT_L4>;
				front_capture_cam = <DVFS_CAM_L2>;
				front_capture_mif = <DVFS_MIF_L5>;
				front_capture_i2c = <0>;

				front_video_int = <DVFS_INT_L4>;
				front_video_cam = <DVFS_CAM_L2>;
				front_video_mif = <DVFS_MIF_L5>;
				front_video_i2c = <0>;

				front_vt1_int = <DVFS_INT_L4>;
				front_vt1_cam = <DVFS_CAM_L2>;
				front_vt1_mif = <DVFS_MIF_L5>;
				front_vt1_i2c = <0>;

				front_vt2_int = <DVFS_INT_L4>;
				front_vt2_cam = <DVFS_CAM_L2>;
				front_vt2_mif = <DVFS_MIF_L5>;
				front_vt2_i2c = <0>;

				front_vt4_int = <DVFS_INT_L4>;
				front_vt4_cam = <DVFS_CAM_L2>;
				front_vt4_mif = <DVFS_MIF_L5>;
				front_vt4_i2c = <0>;

				rear_preview_fhd_int = <DVFS_INT_L4>;
				rear_preview_fhd_cam = <DVFS_CAM_L0>;
				rear_preview_fhd_mif = <DVFS_MIF_L2>;
				rear_preview_fhd_i2c = <0>;

				rear_capture_int = <DVFS_INT_L4>;
				rear_capture_cam = <DVFS_CAM_L0>;
				rear_capture_mif = <DVFS_MIF_L2>;
				rear_capture_i2c = <0>;

				rear_video_fhd_int = <DVFS_INT_L4>;
				rear_video_fhd_cam = <DVFS_CAM_L0>;
				rear_video_fhd_mif = <DVFS_MIF_L2>;
				rear_video_fhd_i2c = <0>;

				rear_video_uhd_int = <DVFS_INT_L4>;
				rear_video_uhd_cam = <DVFS_CAM_L0>;
				rear_video_uhd_mif = <DVFS_MIF_L1>;
				rear_video_uhd_i2c = <0>;

				rear_video_fhd_capture_int = <DVFS_INT_L4>;
				rear_video_fhd_capture_cam = <DVFS_CAM_L0>;
				rear_video_fhd_capture_mif = <DVFS_MIF_L2>;
				rear_video_fhd_capture_i2c = <0>;

				rear_video_uhd_capture_int = <DVFS_INT_L4>;
				rear_video_uhd_capture_cam = <DVFS_CAM_L0>;
				rear_video_uhd_capture_mif = <DVFS_MIF_L0>;
				rear_video_uhd_capture_i2c = <0>;

				preview_high_speed_fps_int = <DVFS_INT_L4>;
				preview_high_speed_fps_cam = <DVFS_CAM_L2>;
				preview_high_speed_fps_mif = <DVFS_MIF_L5>;
				preview_high_speed_fps_i2c = <0>;

				video_high_speed_60fps_int = <DVFS_INT_L4>;
				video_high_speed_60fps_cam = <DVFS_CAM_L3>;
				video_high_speed_60fps_mif = <DVFS_MIF_L5>;
				video_high_speed_60fps_i2c = <0>;

				video_high_speed_120fps_int = <DVFS_INT_L4>;
				video_high_speed_120fps_cam = <DVFS_CAM_L2>;
				video_high_speed_120fps_mif = <DVFS_MIF_L5>;
				video_high_speed_120fps_i2c = <0>;

				max_int = <DVFS_INT_L0>;
				max_cam = <DVFS_CAM_L0>;
				max_mif = <DVFS_MIF_L0>;
				max_i2c = <0>;
			};
		};
	};

	fimc_is_sensor_2p6: fimc-is_sensor_2p6@5A {
		compatible = "samsung,sensor-module-2p6";

		pinctrl-names = "pin0", "pin1", "pin2", "release";
		pinctrl-0 = <>;
		pinctrl-1 = <&fimc_is_mclk0_out>;
		pinctrl-2 = <&fimc_is_mclk0_fn>;
		pinctrl-3 = <>;

		use_pdaf; /* when USE_AP_PDAF is enabled, use for pdaf sensor */

		position = <0>;	/* Rear:0. Front:1 */
		id = <0>; /* bns_id */
		mclk_ch = <0>;

		gpio_mclk = <&gpc0 0 0x1>;
		gpio_reset = <&gpf3 2 0x1>; /* sensor reset - jackpot hw_rev = 100'b */
		gpio_core_en = <&gpp0 2 0x1>; /* RCAM_LDO_EN */
		gpio_cam_io_en = <&gpg2 0 0x1>; /* RCAM_IO_LDO_EN */
		gpio_cam_af_en = <&gpp0 3 0x1>; /* RCAM_AF_2P8_EN */
		status = "okay";

		af {
			product_name = <16>; /* AK7372 */
			i2c_addr = <0x18>;
			i2c_ch = <3>;
		};

		flash {
			product_name = <5>; /* FLASH_KTD2692 */
			flash_first_gpio = <2>; /* DICO not use first, second gpio value */
			flash_second_gpio = <3>;
		};

		internal_vc {
			/* vc_list = <channel, data_type, buffer_offset>
			 * channel : Output VC channel
			 *  - Supported channels are 1(VC1), 2(VC2), 3(VC3)
			 *  - Since channel 0(VC0) is dedicated to image data, it can not be used

			 * data_type : Output type of VC channel
			 *  - Value 0 VC_NOTHING
			 *  - Value 1 VC_TAIL_MODE_PDAF
			 *  - Value 2 VC_MIPI_STAT
			 * buffer_offset : get_vc_dma_buf offset value of buffer to return when using interface

			 *  - Value 0 N buffer return
			 *  - Value 1 N-1 buffer return
			 */

			vc_list = <1 1 1>;
		};
	};

	fimc_is_sensor_3p8sp: fimc-is_sensor_3p8sp@5A {
		compatible = "samsung,sensor-module-3p8sp";

		pinctrl-names = "pin0", "pin1", "pin2", "release";
		pinctrl-0 = <>;
		pinctrl-1 = <&fimc_is_mclk1_out>;
		pinctrl-2 = <&fimc_is_mclk1_fn>;
		pinctrl-3 = <>;

		position = <1>;	/* Rear:0. Front:1 */
		id = <1>; /* bns_id */
		mclk_ch = <1>;

		gpio_mclk = <&gpc0 1 0x1>;
		gpio_reset = <&gpf3 0 0x1>;	/* sensor reset */
		gpio_rcam_en = <&gpg2 0 0x1>;	/* RCAM_IO_LDO_EN */
		gpio_fcam1_en = <&gpp0 0 0x1>;	/* FCAM1 all LDOs */
		status = "okay";
	};


	fimc_is_flash_ktd2692: fimc-is-flash_ktd2692@0 {
		compatible = "samsung,sensor-flash-ktd2692";
		id = <0>; /* matching sensor id */
		status = "okay";
	};

	leds_ktd2692 {
		compatible = "ktd2692";
		flash_control = <&gpg1 2 0x1>;
		max_current = <1500>; /* (IMax) */
		flash_current = <1200>; /* (n/16)xIMax (1<=n<=16) */
		movie_current = <80>; /* (n/16)*IMax/3 (1<=n<=16) */
		factory_current = <175>; /* (n/16)xIMax/3 (1<=n<=16) */
		torch_current = <75>; /* (n/16)xIMax/3 (1<=n<=16) */
		torch_table_enable = <1>;
		torch_table = <1 2 2 3 3 4 4 4 5 5>;
		status = "okay";
		pinctrl-names ="default","host","is";
		pinctrl-0 = <&fimc_is_flash_is>;
		pinctrl-1 = <&fimc_is_flash_host>;
		pinctrl-2 = <&fimc_is_flash_is>;
	};

	#define SENSOR_SCENARIO_NORMAL		0
	#define SENSOR_SCENARIO_VISION		1
	#define SENSOR_SCENARIO_EXTERNAL	2
	#define SENSOR_SCENARIO_OIS_FACTORY	3
	#define SENSOR_SCENARIO_VIRTUAL		9
	#define FLITE_ID_NOTHING 100

	fimc_is_sensor0: fimc_is_sensor@14410000 {
		scenario = <SENSOR_SCENARIO_NORMAL>;	/* Normal, Vision, OIS etc */
		id = <0>;
		csi_ch = <1>;
		flite_ch = <FLITE_ID_NOTHING>;
		is_bns = <0>;
		is_flite = <0>;
		status = "okay";

		use_ssvc1_internal;
	};

	fimc_is_sensor1: fimc_is_sensor@14400000 {
		scenario = <SENSOR_SCENARIO_NORMAL>;	/* Normal, Vision, OIS etc */
		id = <1>;
		csi_ch = <0>;
		flite_ch = <FLITE_ID_NOTHING>;
		is_bns = <0>;
		is_flite = <0>;
		status = "okay";
	};

	fimc_is_sensor2: fimc_is_sensor@14420000 {
		scenario = <SENSOR_SCENARIO_NORMAL>;	/* Normal, Vision, OIS etc */
		id = <2>;
		csi_ch = <2>;
		flite_ch = <FLITE_ID_NOTHING>;
		is_bns = <0>;
		is_flite = <0>;
		status = "okay";
	};

	hsi2c_1: hsi2c@138B0000 {
		gpios = <&gpc1 2 0 &gpc1 3 0>;
		status = "okay";
		clock-frequency = <400000>;

		pinctrl-names = "on_i2c";
		pinctrl-0 = <&hs_i2c1_bus>;

		fimc-is-2p6@10 {
			compatible = "samsung,exynos5-fimc-is-cis-2p6";
			reg = <0x2d>; /* 1 bit right shift */
			id = <0>; /* matching sensor id */
			sensor_f_number = <170>; /* f number 1.7 */
			setfile = "setB";

			use_pdaf; /* when USE_AP_PDAF is enabled, use for pdaf sensor */
		};
	};

	hsi2c_2: hsi2c@138C0000 {
		gpios = <&gpc1 4 0 &gpc1 5 0>;
		status = "okay";
		clock-frequency = <400000>;

		pinctrl-names = "on_i2c";
		pinctrl-0 = <&hs_i2c2_bus>;

		fimc-is-actuator@18 {
		     compatible = "samsung,exynos5-fimc-is-actuator-ak7372";
		     reg = <0x0C>; /* 7bit-addr */
		     id = <0>;
		     place = <0>;
		};

		fimc_is_eeprom_i2c@A0 {
			compatible = "samsung,rear-eeprom-i2c";
			reg = <0x50>; /* 7bit-addr */
		};

		fimc_is_eeprom_i2c@A2 {
			compatible = "samsung,front-eeprom-i2c";
			reg = <0x51>; /* 7bit-addr */
		};
	};

	hsi2c_0: hsi2c@138A0000 {
		gpios = <&gpc1 0 0 &gpc1 1 0>;
		status = "okay";
		clock-frequency = <400000>;

		pinctrl-names = "on_i2c";
		pinctrl-0 = <&hs_i2c0_bus>;

		fimc-is-3p8sp@2D {
			compatible = "samsung,exynos5-fimc-is-cis-3p8sp";
			reg = <0x10>; /* 1 bit right shift */
			id = <1>; /* matching sensor id */
			sensor_f_number = <190>; /* f number 1.9 */
			setfile = "setB";
			use_initial_ae; /* for initial AE of face unlock */
		};
	};

	/* DISPAUD */
	pinctrl@148F0000 {
		/delete-node/ aud_fm_bus;
		/delete-node/ aud_fm_bus_idle;
	};

	pinctrl@139B0000 {
		spi2_bus: spi2-bus {
			samsung,pins = "gpc2-1", "gpc2-0";
			samsung,pin-function = <2>;
			samsung,pin-con-pdn = <3>;
			samsung,pin-pud = <1>;
			samsung,pin-pud-pdn = <0>;
			samsung,pin-drv = <0>;
		};

		spi2_bus_clk: spi2-bus-clk {
			samsung,pins = "gpc2-3";
			samsung,pin-function = <2>;
			samsung,pin-con-pdn = <3>;
			samsung,pin-pud = <0>;
			samsung,pin-pud-pdn = <0>;
			samsung,pin-drv = <0>;
			samsung,pin-val = <0>;
		};

		spi2_cs: spi2-cs {
			samsung,pins = "gpc2-2";
			samsung,pin-function = <2>;
			samsung,pin-con-pdn = <3>;
			samsung,pin-pud = <3>;
			samsung,pin-pud-pdn = <0>;
			samsung,pin-drv = <0>;
		};

		aud_dmic_on: aud_dmic_on {
			samsung,pins = "gpg2-1";
			samsung,pin-function = <1>;
			samsung,pin-con-pdn = <3>;
			samsung,pin-val = <1>;
		};

		aud_dmic_off: aud_dmic_off {
			samsung,pins = "gpg2-1";
			samsung,pin-function = <1>;
			samsung,pin-con-pdn = <3>;
			samsung,pin-val = <1>;
		};
	};

	spi_2: spi@13920000 {
		#address-cells = <1>;
		#size-cells = <0>;
		num-cs = <1>;

		/delete-property/ dma-mode;
		/delete-property/ dmas;
		/delete-property/ dma-names;

		pinctrl-names = "default";
		pinctrl-0 = <&spi2_bus &spi2_bus_clk &spi2_cs>;
		status = "okay";

		dbmd4_spi: dbmd4_interface@0 {
			compatible = "dspg,dbmd4-spi";
			reg = <0x0>;
			spi-max-frequency = <1000000>;
			read-chunk-size = <0x2000>;
			write-chunk-size = <0x40000>;

			interrupts = <2 0 0>;
			interrupt-parent = <&gpa0>;

			gpio-controller;
			#gpio-cells = <2>;

			controller-data {
				cs-gpio = <&gpc2 2 0>;
				samsung,spi-feedback-delay = <0>;
			};
		};
	};

	dbmdx_event {
		status = "okay";
		compatible = "samsung,dbmdx-event";
	};

	dbmdx-snd-soc-platform {
		compatible = "dspg,dbmdx-snd-soc-platform";
	};

	snd-dbmdx-mach-drv {
		compatible = "dspg,snd-dbmdx-mach-drv";
	};

	pinctrl@11CB0000 {
		dbmdx_int: dbmdx-int {
			samsung,pins = "gpa0-2";
			samsung,pin-function = <0xf>;
			samsung,pin-pud = <0>;
		};
	};

	pinctrl@139B0000 {
		dbmdx_wakeup: dbmdx-wakeup {
			samsung,pins ="gpg2-3";
			samsung,pin-function = <1>;
			samsung,pin-pud = <3>;
			samsung,pin-con-pdn =<3>;
			samsung,pin-pud-pdn = <3>;
			samsung,pin-val = <1>;
		};

		dbmdx_reset: dbmdx-reset {
			samsung,pins ="gpg2-2";
			samsung,pin-function = <1>;
			samsung,pin-pud = <3>;
			samsung,pin-con-pdn =<3>;
			samsung,pin-pud-pdn = <3>;
			samsung,pin-val = <1>;
		};
	};

	dbmdx {
		status = "okay";
		compatible = "dspg,dbmdx-codec";

		pinctrl-names = "default";
		pinctrl-0 = <&dbmdx_wakeup &dbmdx_reset>;

		sv-gpio = <&gpa0 2 0>; /* VOICE_INT */
		wakeup-gpio = <&gpg2 3 0>; /* VOICE_WAKE */
		reset-gpio = <&gpg2 2 0>; /* VOICE_RST */
		auto_buffering = <1>;
		cmd-interface = <&dbmd4_spi>;
		feature-va; /* enable VA */
		va-firmware-name = "dbmd4_va_fw.bin";
		va-config = <0x80000000
			     0x80000000
			     0x80000000
			     0x80290020
			     0x802210E0
			     0x80158E8E
			     0x801b0020
			     0x801A0011
			     0x80230001
			     0x80108017
			     0x80000000
			     0x80000000
			     0x80000000>;
		va-speeds = <0x0000 460800  0 960000
			     0x0000 2000000 0 4800000
			     0x0000 3000000 0 4800000>;
		va-mic-config = <0xf041 0x1044 0x0008>;
		va-mic-mode = <0>;
		master-clk-rate = <32768>;
		/* constant-clk-rate = <32768>; */
		firmware_id = <0xdbd4>;
		use_gpio_for_wakeup = <1>; /* Use wakeup gpio */
		wakeup_set_value = <0>;  /* Value to write to wakeup gpio */
		auto_detection = <1>;
		detection_buffer_channels = <0>;
		min_samples_chunk_size = <128>;
		pcm_streaming_mode = <1>;
		boot_options = <0x200>; /* Verify chip id */
		send_uevent_after_buffering = <0>;
		detection_after_buffering = <0>;
		va_backlog_length = <1300>;
		va_backlog_length_okg = <1000>;
		send_uevent_on_detection = <1>;
		amodel_options = <0x3>;
	};

	abox_gic: abox_gic@0x14AF0000 {
		status = "okay";
	};

	i2c_3: i2c@13860000 {
		status = "okay";
		tfa98xx: tfa98xx@34 {
			compatible = "nxp,tfa98xx";
			#sound-dai-cells = <1>;
			reg = <0x34>;
		};
	};

	abox: abox@0x14A50000 {
		status = "okay";
		/* CAUTION:
		* "try to asrc off" quirk must be in dts.
		* It shouldn't be applied already audio tuned device,
		* because it changes delay and causes re-tune.
		*/
		/*
		* TODO: enable later
		*/
		/* quirks = "try to asrc off"; */

		pinctrl-names = "default", "idle";
		pinctrl-0 = <&aud_codec_mclk &aud_codec_bus &aud_spk_bus &aud_loopback_bus &aud_dmic_on>;
		pinctrl-1 = <&aud_codec_mclk_idle &aud_codec_bus_idle	&aud_spk_bus_idle &aud_loopback_bus_idle &aud_dmic_off>;

		abox_synchronized_ipc: abox_synchronized_ipc {
			compatible = "samsung,abox-synchronized-ipc";
			#sound-dai-cells = <1>;
			abox = <&abox>;
		};
	};

	dummy_audio_codec: audio_codec_dummy {
		status = "okay";
		compatible = "snd-soc-dummy";
	};

	sound {
		status = "okay";
		compatible = "samsung,exynos7885-cod3035";
		mic-bias-mode = <0 0 2 0>;
		clock-names = "xclkout";
		samsung,codec = <&abox>;

		samsung,routing =  "VOUTPUT", "ABOX UAIF0 Playback",
				 "VOUTPUTCALL", "ABOX UAIF2 Playback",
				 "ABOX UAIF2 Capture", "VINPUTCALL",
				 "ABOX SPEEDY Capture", "VINPUTFM",
				 // "SPK", "ABOX UAIF3 Playback",
				 // "ABOX UAIF3 Capture", "VI";
				 "SPK", "AIF Playback-8-34",
				 "AIF Playback-8-34", "ABOX UAIF3 Playback",
				 "ABOX UAIF3 Capture", "AIF Capture-8-34";

		rdma@0 {
			cpu {
				sound-dai = <&abox 0>;
			};
			codec {
				sound-dai = <&dummy_audio_codec>;
			};
		};
		rdma@1 {
			cpu {
				sound-dai = <&abox 1>;
			};
			codec {
				sound-dai = <&dummy_audio_codec>;
			};
		};
		rdma@2 {
			cpu {
				sound-dai = <&abox 2>;
			};
			codec {
				sound-dai = <&dummy_audio_codec>;
			};
		};
		rdma@3 {
			cpu {
				sound-dai = <&abox 3>;
			};
			codec {
				sound-dai = <&dummy_audio_codec>;
			};
		};
		rdma@4 {
			cpu {
				sound-dai = <&abox 4>;
			};
			codec {
				sound-dai = <&dummy_audio_codec>;
			};
		};
		rdma@5 {
			cpu {
				sound-dai = <&abox 5>;
			};
			codec {
				sound-dai = <&dummy_audio_codec>;
			};
		};
		rdma@6 {
			cpu {
				sound-dai = <&abox 6>;
			};
			codec {
				sound-dai = <&dummy_audio_codec>;
			};
		};
		rdma@7 {
			cpu {
				sound-dai = <&abox 7>;
			};
			codec {
				sound-dai = <&dummy_audio_codec>;
			};
		};
		wdma@0 {
			cpu {
				sound-dai = <&abox 8>;
			};
			codec {
				sound-dai = <&dummy_audio_codec>;
			};
		};
		wdma@1 {
			cpu {
				sound-dai = <&abox 9>;
			};
			codec {
				sound-dai = <&dummy_audio_codec>;
			};
		};
		wdma@2 {
			cpu {
				sound-dai = <&abox 10>;
			};
			codec {
				sound-dai = <&dummy_audio_codec>;
			};
		};
		wdma@3 {
			cpu {
				sound-dai = <&abox 11>;
			};
			codec {
				sound-dai = <&dummy_audio_codec>;
			};
		};
		wdma@4 {
			cpu {
				sound-dai = <&abox 12>;
			};
			codec {
				sound-dai = <&dummy_audio_codec>;
			};
		};
		uaif@0 {
			cpu {
				sound-dai = <&abox 13>;
			};
			codec {
				sound-dai = <&audio_codec_cod3035x>;
			};
		};
		uaif@1 {
			cpu {
				sound-dai = <&abox 14>;
			};
			codec {
				sound-dai = <&dummy_audio_codec>;
			};
		};
		uaif@2 {
			cpu {
				sound-dai = <&abox 15>;
			};
			codec {
				sound-dai = <&dummy_audio_codec>;
			};
		};
		uaif@3 {
			cpu {
				sound-dai = <&abox 16>;
			};
			platform {
				sound-dai = <&abox_synchronized_ipc 0>;
			};
			codec {
				sound-dai = <&tfa98xx 0>;
			};
		};
		internal@0 {
			cpu {
				sound-dai = <&abox 17>;
			};
			codec {
				sound-dai = <&dummy_audio_codec>;
			};
		};
		speedy@0 {
			cpu {
				sound-dai = <&abox 18>;
			};
			codec {
				sound-dai = <&dummy_audio_codec>;
			};
		};
	};

	pinctrl@11CB0000 {
		nfc_int: nfc-int {
			samsung,pins = "gpa1-0";
			samsung,pin-function = <0>;
			samsung,pin-pud = <1>;
		};

		nfc_clk: nfc-clk {
			samsung,pins = "gpq0-0";
			samsung,pin-function = <2>;
			samsung,pin-pud = <0>;
		};
	};

	pinctrl@139B0000 {
		nfc_pvdd_en: nfc_pvdd_en {
				samsung,pins = "gpg1-5";
				samsung,pin-function = <1>;
				samsung,pin-pud = <0>;
				samsung,pin-val = <0>;
				samsung,pin-con-pdn = <3>;
				samsung,pin-pud-pdn = <0>;
		};

		nfc_firm: nfc_firm {
			samsung,pins = "gpg1-4";
			samsung,pin-function = <1>;
			samsung,pin-pud = <0>;
			samsung,pin-val = <0>;
			samsung,pin-con-pdn = <3>;
			samsung,pin-pud-pdn = <0>;
		};

		nfc_pd: nfc_pd {
			samsung,pins = "gpp2-2";
			samsung,pin-function = <2>;
			samsung,pin-pud = <0>;
			samsung,pin-drv = <0>;
			samsung,pin-con-pdn = <3>;
			samsung,pin-pud-pdn = <0>;
		};
	};

	i2c_2: i2c@13850000 {
		status = "okay";
		samsung,i2c-max-bus-freq = <400000>;
		sec-nfc@27 {
			compatible = "sec-nfc";
			reg = <0x27>;

			interrupts = <0 0 0>;
			interrupt-parent = <&gpa1>;

			sec-nfc,nfc_pd = <&gpp2 2 0x2>;
			sec-nfc,firm-gpio = <&gpg1 4 1>;
			sec-nfc,irq-gpio = <&gpa1 0 0>;
			sec-nfc,pvdd_en = <&gpg1 5 1>;
			clkctrl-reg = <0x11C8600C>;

			pinctrl-names = "default";
			pinctrl-0 = <&nfc_pd &nfc_firm &nfc_int &nfc_pvdd_en>;
		};
	};

	pinctrl@139B0000 {
		spi0_bus_ese: spi0-bus-ese {
			samsung,pins = "gpp5-3", "gpp5-2", "gpp5-0";
			samsung,pin-function = <2>;
			samsung,pin-pud = <0>;
			samsung,pin-drv = <0>;
		};

		spi0_ese_cs_gpio: spi0-ese-cs-gpio {
			samsung,pins = "gpp5-1";
			samsung,pin-function = <1>;
			samsung,pin-pud = <0>;
			samsung,pin-drv = <0>;
		};

		spi0_bus_ese_suspend: spi0-bus-ese-suspend {
			samsung,pins = "gpp5-3", "gpp5-2", "gpp5-1", "gpp5-0";
			samsung,pin-function = <0>;
			samsung,pin-pud = <1>;
			samsung,pin-drv = <0>;
		};
	};

	spi_0: spi@13900000 {
		status = "disabled";
		/delete-property/ pinctrl-names;
		/delete-property/ pinctrl-0;

		ese_spi@0 {
			compatible = "ese_p3";
			reg = <0>;
			spi-max-frequency = <13000000>;
			gpio-controller;
			#gpio-cells = <2>;

			p3-vdd_1p8-gpio = <&gpg1 0 1>;
			ese_p3,cs-gpio = <&gpp5 1 0>;

			clocks = <&clock GATE_SPI0>, <&clock SPI_0>;
			clock-names = "pclk", "sclk";

			pinctrl-names = "ese_active", "ese_suspend";
			pinctrl-0 = <&spi0_bus_ese &spi0_ese_cs_gpio>;
			pinctrl-1 = <&spi0_bus_ese_suspend>;

			controller-data {
				samsung,spi-feedback-delay = <0>;
				samsung,spi-chip-select-mode = <0>;
			};
		};
	};

	pinctrl@139B0000 {
		ssp_ap_int: ssp-ap-int {
			samsung,pins = "gpg1-6";
			samsung,pin-function = <1>;
			samsung,pin-pud = <3>;
			samsung,pin-drv = <3>;
		};
		ssp_boot0: ssp-boot0 {
			samsung,pins = "gpg1-3";
			samsung,pin-function = <1>;
			samsung,pin-pud = <1>;
			samsung,pin-drv = <3>;
		};
		ssp_rst: ssp-rst {
			samsung,pins = "gpg3-5";
			samsung,pin-function = <1>;
			samsung,pin-pud = <1>;
			samsung,pin-drv = <3>;
			samsung,pin-pud-pdn = <0>;
		};

		spi4_clk: spi4-clk {
			samsung,pins = "gpp8-1";
			samsung,pin-function = <2>;
			samsung,pin-pud = <1>;
			samsung,pin-drv = <2>;
		};
		spi4_cs: spi4-cs {
			samsung,pins = "gpp8-0";
			samsung,pin-function = <2>;
			samsung,pin-pud = <3>;
			samsung,pin-drv = <2>;
		};
		spi4_miso: spi4-miso {
			samsung,pins = "gpp7-0";
			samsung,pin-function = <2>;
			samsung,pin-pud = <0>;
			samsung,pin-drv = <2>;
		};
		spi4_mosi: spi4-mosi {
			samsung,pins = "gpp7-1";
			samsung,pin-function = <2>;
			samsung,pin-pud = <1>;
			samsung,pin-drv = <2>;
		};
	};

	pinctrl@11CB0000 {
		ssp_mcu_int1: ssp-mcu-int1 {
			samsung,pins = "gpa1-2";
			samsung,pin-function = <0>;
			samsung,pin-pud = <0>;
			samsung,pin-drv = <0>;
		};

		ssp_mcu_int2: ssp-mcu-int2 {
			samsung,pins = "gpa1-3";
			samsung,pin-function = <0>;
			samsung,pin-pud = <0>;
			samsung,pin-drv = <0>;
		};
	};

	mcu_ipc: mcu_ipc@12080000 {
		mcu,irq_affinity_mask = <3>;
	};

	argos {
		compatible = "samsung,argos";
		#address-cells = <1>;
		/*  The device number should be assigned for each device, e.g. "boot_device@1" and "boot_device@2".
		 * Duplicated number is not allowed. Please refer the below example.
		 */

		/* Table Format should be
		 * <Throughput(Mbps) ARM_min ARM_max KFC_min KFC_max MIF INT Task IRQ HMP_boost>
		 * ARM_min : Big Core's minimum frequency lock. 0 means not set,
		 * ARM_max : Big Core's maximum frequency lock. 0 means not set,
		 * KFC_min : Little Core's minimum frequency lock. 0 means not set,
		 * KFC_max : Little Core's maximum frequency lock. 0 means not set,
		 * MIF : MIF frequency lock. 0 means not set,
		 * INT : INT frequency lock. 0 means not set,
		 * Task : 1 - Set task affinity lock.
		 *	0 - Not set or unlock,
		 *		Task affinity should be predefined driver's code.
		 * IRQ : 1 - Set irq affinity lock.
		 *       0 - Not set or unlock,
		 *		Task affinity should be predefined driver's code.
		 * HMP_boots : 1 - Increase hmp boosting count
		 *             0 - Decrease hmp boosting count
		 */

		 boot_device@1 {
		 net_boost,label="WIFI TX";
		 net_boost,node="wlan0";
		 net_boost,table_size = <2>;
		 net_boost,table= <
		 	60 1144000 0 676000 0 0 0 0 0 0
		 	120 1560000 0 1586000 0 0 267000 0 0 0
		 	>;
		 };

		 boot_device@2 {
		 net_boost,label="WIFI RX";
		 net_boost,node="wlan0";
		 net_boost,table_size = <1>;
		 net_boost,table= <
		 	250 1352000 0 1352000 0 0 0 0 0 0
		 	>;
		 };

		 boot_device@3 {
			net_boost,label="IPC";
			net_boost,node="rmnet0 rmnet1 rmnet2 rmnet3 rmnet4 rmnet5 rmnet6 rmnet7 umts_dm0";
			net_boost,table_size = <4>;
			net_boost,table= <
				1   0 0 0 0 0 0 0 1 0
				50  0 0 1170000 0 1144000 0 0 1 0
				100 0 0 1378000 0 1539000 0 0 1 0
				150 0 0 1586000 0 1794000 0 0 1 0
				>;
		};

		boot_device@4 {
			net_boost,label="CLAT";
			net_boost,node="clat clat4 v4-rmnet0 v4-rmnet1 v4-rmnet2 v4-rmnet3 v4-rmnet4 v4-rmnet5 v4-rmnet6 v4-rmnet7";
			net_boost,table_size = <3>;
			net_boost,table= <
				20  0 0 1170000 0 1539000 0 0 0 0
				50  0 0 1378000 0 1539000 0 0 0 0
				100 0 0 1586000 0 1794000 0 0 0 0
				>;
		};

		boot_device@5 {
			net_boost,label="USB";
			net_boost,node="rndis0";
			net_boost,table_size = <1>;
			net_boost,table= < 0 0 0 0 0 0 0 0 1 0 >;
		};

		/*
		 * boot_device@9 {
		 *	net_boost,label="WIFI RX";
		 *	net_boost,node="wlan0";
		 *	net_boost,table_size = <4>;
		 *	net_boost,table= <
		 *		5  2002000 0 1690000 0 0 0 0 0 0
		 *		10 2002000 0 1690000 0 0 0 0 0 0
		 *		20 2002000 0 1690000 0 845000 400000 1 1 1
		 *		30 2002000 0 1690000 0 1352000 533000 1 1 1
		 *		>;
		 * };
		 */
	};

	nad_balancer {
		compatible = "samsung,sec_nad_balancer";
		status = "okay";

		nad_balancer,timeout = <400>;

			qos {
				cl0 {
					qos,label="LIT";
					qos,delay_time=<9>;
					qos,table_size=<12>;
					qos,table=<1586000 1482000 1352000 1248000 1144000 1014000 902000 839000 757000
						676000 546000 449000>;
				};

				cl1 {
					qos,label="BIG";
					qos,delay_time=<8>;
					qos,table_size=<11>;
					qos,table=<2184000 2080000 1976000 1872000 1768000 1664000 1560000 1352000 1144000
						936000 728000>;
				};

				mif {
					qos,label="MIF";
					qos,delay_time=<10>;
					qos,table_size=<8>;
					qos,table=<1794000 1539000 1352000 1014000 845000 676000 546000 420000>;
				};
			};

            sleep {
                /* per msec */
                sleep,suspend_threshold = <1000>;
                sleep,resume_threshold = <1000>;
            };
	};
};

